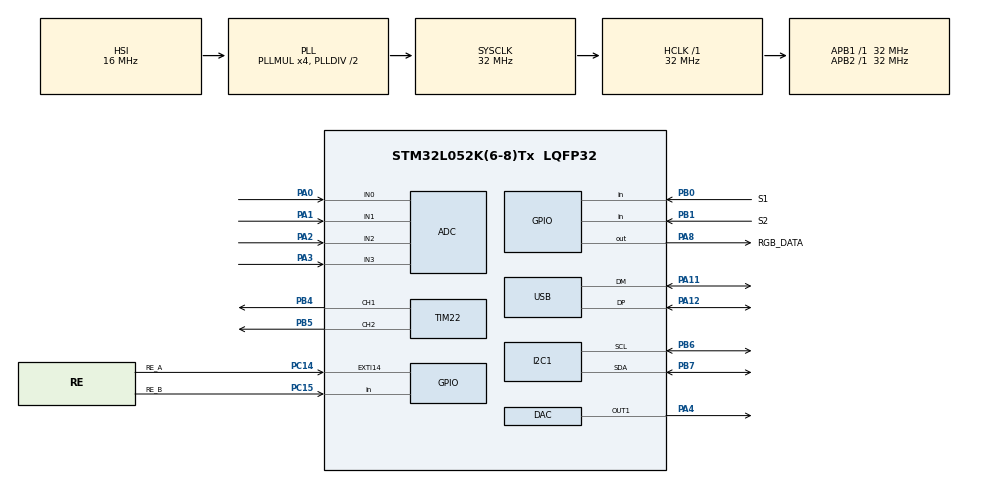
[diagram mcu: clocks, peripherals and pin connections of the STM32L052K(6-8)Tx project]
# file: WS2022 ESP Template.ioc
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ADC.ClockPrescaler=ADC_CLOCK_ASYNC_DIV64
ADC.SamplingTime=ADC_SAMPLETIME_160CYCLES_5
I2C1.Timing=0x00707CBB
Mcu.Family=STM32L0
Mcu.Name=STM32L052K(6-8)Tx
Mcu.Package=LQFP32
NVIC.EXTI4_15_IRQn=true\:0\:0\:false\:false\:true\:true\:true\:true
PA0.Mode=IN0
PA0.Signal=ADC_IN0
PA1.Mode=IN1
PA1.Signal=ADC_IN1
PA10.Signal=USART1_RX
PA11.Mode=Device
PA11.Signal=USB_DM
PA12.Mode=Device
PA12.Signal=USB_DP
PA13.Mode=Serial_Wire
PA13.Signal=SYS_SWDIO
PA14.Mode=Serial_Wire
PA14.Signal=SYS_SWCLK
PA2.Mode=IN2
PA2.Signal=ADC_IN2
PA3.Mode=IN3
PA3.Signal=ADC_IN3
PA4.Signal=COMP_DAC1_group
PA5.Signal=SPI1_SCK
PA6.Signal=SPI1_MISO
PA7.Signal=SPI1_MOSI
PA8.GPIO_Label=RGB_DATA
PA8.GPIO_Speed=GPIO_SPEED_FREQ_VERY_HIGH
PA8.PinState=GPIO_PIN_RESET
PA8.Signal=GPIO_Output
PA9.Signal=USART1_TX
PB0.GPIO_Label=S1
PB0.GPIO_PuPd=GPIO_PULLUP
PB0.Signal=GPIO_Input
PB1.GPIO_Label=S2
PB1.GPIO_PuPd=GPIO_PULLUP
PB1.Signal=GPIO_Input
PB4.Signal=S_TIM22_CH1
PB5.Signal=S_TIM22_CH2
PB6.Mode=I2C
PB6.Signal=I2C1_SCL
PB7.Mode=I2C
PB7.Signal=I2C1_SDA
PC14-OSC32_IN.GPIO_Label=RE_A
PC14-OSC32_IN.GPIO_ModeDefaultEXTI=GPIO_MODE_IT_FALLING
PC14-OSC32_IN.GPIO_PuPd=GPIO_PULLUP
PC14-OSC32_IN.Signal=GPXTI14
PC15-OSC32_OUT.GPIO_Label=RE_B
PC15-OSC32_OUT.GPIO_PuPd=GPIO_PULLUP
PC15-OSC32_OUT.Signal=GPIO_Input
ProjectManager.HeapSize=0x200
ProjectManager.StackSize=0x400
ProjectManager.TargetToolchain=STM32CubeIDE
RCC.AHBFreq_Value=32000000
RCC.APB1Freq_Value=32000000
RCC.APB1TimFreq_Value=32000000
RCC.APB2Freq_Value=32000000
RCC.APB2TimFreq_Value=32000000
RCC.HCLKFreq_Value=32000000
RCC.HSI16_VALUE=16000000
RCC.HSI48MClockSelection=RCC_USBCLKSOURCE_HSI48
RCC.HSI48_VALUE=48000000
RCC.HSI_VALUE=16000000
RCC.LSE_VALUE=32768
RCC.MSI_VALUE=2097000
RCC.PLLMUL=RCC_PLLMUL_4
RCC.SYSCLKFreq_VALUE=32000000
RCC.SYSCLKSource=RCC_SYSCLKSOURCE_PLLCLK
RCC.VCOOutputFreq_Value=64000000
SH.COMP_DAC1_group.0=DAC_OUT1,DAC_OUT1
SH.S_TIM22_CH1.0=TIM22_CH1,Output Compare1 CH1
SH.S_TIM22_CH2.0=TIM22_CH2,PWM Generation2 CH2
TIM22.Channel-Output\ Compare1\ CH1=TIM_CHANNEL_1
TIM22.Channel-PWM\ Generation2\ CH2=TIM_CHANNEL_2
VP_TIM22_VS_ClockSourceINT.Mode=Internal
board=custom

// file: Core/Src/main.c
/* USER CODE BEGIN Header */
/**
  ******************************************************************************
  * @file           : main.c
  * @brief          : Main program body
  ******************************************************************************
  * @attention
  *
  * Copyright (c) 2022 STMicroelectronics.
  * All rights reserved.
  *
  * This software is licensed under terms that can be found in the LICENSE file
  * in the root directory of this software component.
  * If no LICENSE file comes with this software, it is provided AS-IS.
  *
  ******************************************************************************
  */
/* USER CODE END Header */
#include "main.h"

/* USER CODE BEGIN Includes */

#include "lcd.h"
#include "ws2812b.h"
#include "pca9536.h"
#include <stdio.h>

/* USER CODE END Includes */

ADC_HandleTypeDef hadc;

DAC_HandleTypeDef hdac;

I2C_HandleTypeDef hi2c1;

TIM_HandleTypeDef htim22;

PCD_HandleTypeDef hpcd_USB_FS;

/* USER CODE BEGIN PV */

/*
 * Global variables
 */

uint32_t led_colors[12] = {0};      // this is buffer for all 12 rgb leds
                                    // G 8b + R 8b + B 8b = 24b
int8_t rotary = 0;                  // inc or dec when rotary encoder is rotated

/* USER CODE END PV */

void SystemClock_Config(void);
static void MX_GPIO_Init(void);
static void MX_ADC_Init(void);
static void MX_DAC_Init(void);
static void MX_I2C1_Init(void);
static void MX_TIM22_Init(void);
static void MX_USB_PCD_Init(void);

/* USER CODE BEGIN 0 */

//
//******************************************************************************
//  This is EXTI line14 External Interrupt ISR Handler CallBack Function
//  Look: stm32l0xx_it.c and stm32l0xx_hal_gpio.c files
//  This function is called every time when rotary encoder is rotated
//******************************************************************************
//
void HAL_GPIO_EXTI_Callback(uint16_t pin)
{
    if (pin == RE_A_Pin)
    {
        if (HAL_GPIO_ReadPin(RE_B_GPIO_Port, RE_B_Pin) == 1)
            rotary++;
        else
            rotary--;
    }
}

/* USER CODE END 0 */

int main(void)
{
  /* USER CODE BEGIN 1 */

  char buff[17];            // buffer for LCD display

  /* USER CODE END 1 */

  /* MCU Configuration--------------------------------------------------------*/

  /* Reset of all peripherals, Initializes the Flash interface and the Systick. */
  HAL_Init();

  /* Configure the system clock */
  SystemClock_Config();

  /* Initialize all configured peripherals */
  MX_GPIO_Init();
  MX_ADC_Init();
  MX_DAC_Init();
  MX_I2C1_Init();
  MX_TIM22_Init();
  MX_USB_PCD_Init();
  /* USER CODE BEGIN 2 */

  /*
   *    This is an example how to print text to LCD display
   */

  lcd_init(&hi2c1);                                     // initialize LCD display (I2C connected)
  lcd_write_cmd(&hi2c1, LCD_CLEAR_DISPLAY);             // clear display
  lcd_write_cmd(&hi2c1, LCD_CURSOR_OFF);                // hide cursor
  lcd_goto_rc(&hi2c1, 0, 0);                            // cursor to first row first col
  lcd_putstr(&hi2c1, "SWD Test Project");               // print text
  lcd_goto_rc(&hi2c1, 1, 0);                            // cursor to second row first col
  lcd_putstr(&hi2c1, "Template");                       // print starting texts

  /*
   *    This is  an example how set colors for all RGB leds
   */

  led_colors[0] =  COLOR_RED;
  led_colors[1] =  COLOR_GREEN;
  led_colors[2] =  COLOR_BLUE;
  led_colors[3] =  COLOR_PINK;
  led_colors[4] =  COLOR_CYAN;
  led_colors[5] =  COLOR_VIOLET;
  led_colors[6] =  COLOR_ORANGE;
  led_colors[7] =  COLOR_WHITE;
  led_colors[8] =  COLOR_YELLOW;
  led_colors[9] =  0x030F1F;
  led_colors[10] = 0x130F10;
  led_colors[11] = 0x131F07;

  ws2812b_display_all_led_colors(led_colors);

  /*
   *    This is  an example how to use IO expander chip
   */

  pca9536_configure_port(&hi2c1, 0xC0);         // configure port 4 lower bits i i o o
                                                // (i = input, o = output)
                                                // P3 = EXT_IO2, P2 = EXT_IO1, P1 = LCD_BL, P0 = PWM_OE
  pca9536_write_port_outputs(&hi2c1, 0x02);     // set P1 = 1 (LCD backlight ON), P0 = 0 (PWM ON)

  HAL_Delay(1000);                              // short delay

  /* USER CODE END 2 */

  /* Infinite loop */
  while (1)
  {

    /* USER CODE BEGIN 3 */

    lcd_write_cmd(&hi2c1, LCD_CLEAR_DISPLAY);       // clear LCD display
    sprintf(buff, "Rotary = %d", rotary);           // print value of rotary...
    lcd_putstr(&hi2c1, buff);                       // to LCD display
    HAL_Delay(100);

  }
  /* USER CODE END 3 */
}

void SystemClock_Config(void)
{
  RCC_OscInitTypeDef RCC_OscInitStruct = {0};
  RCC_ClkInitTypeDef RCC_ClkInitStruct = {0};
  RCC_PeriphCLKInitTypeDef PeriphClkInit = {0};

  /** Configure the main internal regulator output voltage
  */
  __HAL_PWR_VOLTAGESCALING_CONFIG(PWR_REGULATOR_VOLTAGE_SCALE1);

  /** Initializes the RCC Oscillators according to the specified parameters
  * in the RCC_OscInitTypeDef structure.
  */
  RCC_OscInitStruct.OscillatorType = RCC_OSCILLATORTYPE_HSI|RCC_OSCILLATORTYPE_HSI48;
  RCC_OscInitStruct.HSIState = RCC_HSI_ON;
  RCC_OscInitStruct.HSICalibrationValue = RCC_HSICALIBRATION_DEFAULT;
  RCC_OscInitStruct.HSI48State = RCC_HSI48_ON;
  RCC_OscInitStruct.PLL.PLLState = RCC_PLL_ON;
  RCC_OscInitStruct.PLL.PLLSource = RCC_PLLSOURCE_HSI;
  RCC_OscInitStruct.PLL.PLLMUL = RCC_PLLMUL_4;
  RCC_OscInitStruct.PLL.PLLDIV = RCC_PLLDIV_2;
  if (HAL_RCC_OscConfig(&RCC_OscInitStruct) != HAL_OK)
  {
    Error_Handler();
  }

  /** Initializes the CPU, AHB and APB buses clocks
  */
  RCC_ClkInitStruct.ClockType = RCC_CLOCKTYPE_HCLK|RCC_CLOCKTYPE_SYSCLK
                              |RCC_CLOCKTYPE_PCLK1|RCC_CLOCKTYPE_PCLK2;
  RCC_ClkInitStruct.SYSCLKSource = RCC_SYSCLKSOURCE_PLLCLK;
  RCC_ClkInitStruct.AHBCLKDivider = RCC_SYSCLK_DIV1;
  RCC_ClkInitStruct.APB1CLKDivider = RCC_HCLK_DIV1;
  RCC_ClkInitStruct.APB2CLKDivider = RCC_HCLK_DIV1;

  if (HAL_RCC_ClockConfig(&RCC_ClkInitStruct, FLASH_LATENCY_1) != HAL_OK)
  {
    Error_Handler();
  }
  PeriphClkInit.PeriphClockSelection = RCC_PERIPHCLK_I2C1|RCC_PERIPHCLK_USB;
  PeriphClkInit.I2c1ClockSelection = RCC_I2C1CLKSOURCE_PCLK1;
  PeriphClkInit.UsbClockSelection = RCC_USBCLKSOURCE_HSI48;
  if (HAL_RCCEx_PeriphCLKConfig(&PeriphClkInit) != HAL_OK)
  {
    Error_Handler();
  }
}

static void MX_ADC_Init(void)
{

  ADC_ChannelConfTypeDef sConfig = {0};

  /** Configure the global features of the ADC (Clock, Resolution, Data Alignment and number of conversion)
  */
  hadc.Instance = ADC1;
  hadc.Init.OversamplingMode = DISABLE;
  hadc.Init.ClockPrescaler = ADC_CLOCK_ASYNC_DIV64;
  hadc.Init.Resolution = ADC_RESOLUTION_12B;
  hadc.Init.SamplingTime = ADC_SAMPLETIME_160CYCLES_5;
  hadc.Init.ScanConvMode = ADC_SCAN_DIRECTION_FORWARD;
  hadc.Init.DataAlign = ADC_DATAALIGN_RIGHT;
  hadc.Init.ContinuousConvMode = DISABLE;
  hadc.Init.DiscontinuousConvMode = DISABLE;
  hadc.Init.ExternalTrigConvEdge = ADC_EXTERNALTRIGCONVEDGE_NONE;
  hadc.Init.ExternalTrigConv = ADC_SOFTWARE_START;
  hadc.Init.DMAContinuousRequests = DISABLE;
  hadc.Init.EOCSelection = ADC_EOC_SINGLE_CONV;
  hadc.Init.Overrun = ADC_OVR_DATA_PRESERVED;
  hadc.Init.LowPowerAutoWait = DISABLE;
  hadc.Init.LowPowerFrequencyMode = ENABLE;
  hadc.Init.LowPowerAutoPowerOff = DISABLE;
  if (HAL_ADC_Init(&hadc) != HAL_OK)
  {
    Error_Handler();
  }

  /** Configure for the selected ADC regular channel to be converted.
  */
  sConfig.Channel = ADC_CHANNEL_0;
  sConfig.Rank = ADC_RANK_CHANNEL_NUMBER;
  if (HAL_ADC_ConfigChannel(&hadc, &sConfig) != HAL_OK)
  {
    Error_Handler();
  }

  /** Configure for the selected ADC regular channel to be converted.
  */
  sConfig.Channel = ADC_CHANNEL_1;
  if (HAL_ADC_ConfigChannel(&hadc, &sConfig) != HAL_OK)
  {
    Error_Handler();
  }

  /** Configure for the selected ADC regular channel to be converted.
  */
  sConfig.Channel = ADC_CHANNEL_2;
  if (HAL_ADC_ConfigChannel(&hadc, &sConfig) != HAL_OK)
  {
    Error_Handler();
  }

  /** Configure for the selected ADC regular channel to be converted.
  */
  sConfig.Channel = ADC_CHANNEL_3;
  if (HAL_ADC_ConfigChannel(&hadc, &sConfig) != HAL_OK)
  {
    Error_Handler();
  }

}

static void MX_DAC_Init(void)
{

  DAC_ChannelConfTypeDef sConfig = {0};

  /** DAC Initialization
  */
  hdac.Instance = DAC;
  if (HAL_DAC_Init(&hdac) != HAL_OK)
  {
    Error_Handler();
  }

  /** DAC channel OUT1 config
  */
  sConfig.DAC_Trigger = DAC_TRIGGER_NONE;
  sConfig.DAC_OutputBuffer = DAC_OUTPUTBUFFER_ENABLE;
  if (HAL_DAC_ConfigChannel(&hdac, &sConfig, DAC_CHANNEL_1) != HAL_OK)
  {
    Error_Handler();
  }

}

static void MX_I2C1_Init(void)
{

  hi2c1.Instance = I2C1;
  hi2c1.Init.Timing = 0x00707CBB;
  hi2c1.Init.OwnAddress1 = 0;
  hi2c1.Init.AddressingMode = I2C_ADDRESSINGMODE_7BIT;
  hi2c1.Init.DualAddressMode = I2C_DUALADDRESS_DISABLE;
  hi2c1.Init.OwnAddress2 = 0;
  hi2c1.Init.OwnAddress2Masks = I2C_OA2_NOMASK;
  hi2c1.Init.GeneralCallMode = I2C_GENERALCALL_DISABLE;
  hi2c1.Init.NoStretchMode = I2C_NOSTRETCH_DISABLE;
  if (HAL_I2C_Init(&hi2c1) != HAL_OK)
  {
    Error_Handler();
  }

  /** Configure Analogue filter
  */
  if (HAL_I2CEx_ConfigAnalogFilter(&hi2c1, I2C_ANALOGFILTER_ENABLE) != HAL_OK)
  {
    Error_Handler();
  }

  /** Configure Digital filter
  */
  if (HAL_I2CEx_ConfigDigitalFilter(&hi2c1, 0) != HAL_OK)
  {
    Error_Handler();
  }

}

static void MX_TIM22_Init(void)
{

  TIM_ClockConfigTypeDef sClockSourceConfig = {0};
  TIM_MasterConfigTypeDef sMasterConfig = {0};
  TIM_OC_InitTypeDef sConfigOC = {0};

  htim22.Instance = TIM22;
  htim22.Init.Prescaler = 0;
  htim22.Init.CounterMode = TIM_COUNTERMODE_UP;
  htim22.Init.Period = 65535;
  htim22.Init.ClockDivision = TIM_CLOCKDIVISION_DIV1;
  htim22.Init.AutoReloadPreload = TIM_AUTORELOAD_PRELOAD_DISABLE;
  if (HAL_TIM_Base_Init(&htim22) != HAL_OK)
  {
    Error_Handler();
  }
  sClockSourceConfig.ClockSource = TIM_CLOCKSOURCE_INTERNAL;
  if (HAL_TIM_ConfigClockSource(&htim22, &sClockSourceConfig) != HAL_OK)
  {
    Error_Handler();
  }
  if (HAL_TIM_OC_Init(&htim22) != HAL_OK)
  {
    Error_Handler();
  }
  if (HAL_TIM_PWM_Init(&htim22) != HAL_OK)
  {
    Error_Handler();
  }
  sMasterConfig.MasterOutputTrigger = TIM_TRGO_RESET;
  sMasterConfig.MasterSlaveMode = TIM_MASTERSLAVEMODE_DISABLE;
  if (HAL_TIMEx_MasterConfigSynchronization(&htim22, &sMasterConfig) != HAL_OK)
  {
    Error_Handler();
  }
  sConfigOC.OCMode = TIM_OCMODE_TIMING;
  sConfigOC.Pulse = 0;
  sConfigOC.OCPolarity = TIM_OCPOLARITY_HIGH;
  sConfigOC.OCFastMode = TIM_OCFAST_DISABLE;
  if (HAL_TIM_OC_ConfigChannel(&htim22, &sConfigOC, TIM_CHANNEL_1) != HAL_OK)
  {
    Error_Handler();
  }
  sConfigOC.OCMode = TIM_OCMODE_PWM1;
  if (HAL_TIM_PWM_ConfigChannel(&htim22, &sConfigOC, TIM_CHANNEL_2) != HAL_OK)
  {
    Error_Handler();
  }
  HAL_TIM_MspPostInit(&htim22);

}

static void MX_USB_PCD_Init(void)
{

  hpcd_USB_FS.Instance = USB;
  hpcd_USB_FS.Init.dev_endpoints = 8;
  hpcd_USB_FS.Init.speed = PCD_SPEED_FULL;
  hpcd_USB_FS.Init.phy_itface = PCD_PHY_EMBEDDED;
  hpcd_USB_FS.Init.low_power_enable = DISABLE;
  hpcd_USB_FS.Init.lpm_enable = DISABLE;
  hpcd_USB_FS.Init.battery_charging_enable = DISABLE;
  if (HAL_PCD_Init(&hpcd_USB_FS) != HAL_OK)
  {
    Error_Handler();
  }

}

static void MX_GPIO_Init(void)
{
  GPIO_InitTypeDef GPIO_InitStruct = {0};

  /* GPIO Ports Clock Enable */
  __HAL_RCC_GPIOC_CLK_ENABLE();
  __HAL_RCC_GPIOA_CLK_ENABLE();
  __HAL_RCC_GPIOB_CLK_ENABLE();

  /*Configure GPIO pin Output Level */
  HAL_GPIO_WritePin(RGB_DATA_GPIO_Port, RGB_DATA_Pin, GPIO_PIN_RESET);

  /*Configure GPIO pin : RE_A_Pin */
  GPIO_InitStruct.Pin = RE_A_Pin;
  GPIO_InitStruct.Mode = GPIO_MODE_IT_FALLING;
  GPIO_InitStruct.Pull = GPIO_PULLUP;
  HAL_GPIO_Init(RE_A_GPIO_Port, &GPIO_InitStruct);

  /*Configure GPIO pin : RE_B_Pin */
  GPIO_InitStruct.Pin = RE_B_Pin;
  GPIO_InitStruct.Mode = GPIO_MODE_INPUT;
  GPIO_InitStruct.Pull = GPIO_PULLUP;
  HAL_GPIO_Init(RE_B_GPIO_Port, &GPIO_InitStruct);

  /*Configure GPIO pins : PA5 PA6 PA7 */
  GPIO_InitStruct.Pin = GPIO_PIN_5|GPIO_PIN_6|GPIO_PIN_7;
  GPIO_InitStruct.Mode = GPIO_MODE_AF_PP;
  GPIO_InitStruct.Pull = GPIO_NOPULL;
  GPIO_InitStruct.Speed = GPIO_SPEED_FREQ_VERY_HIGH;
  GPIO_InitStruct.Alternate = GPIO_AF0_SPI1;
  HAL_GPIO_Init(GPIOA, &GPIO_InitStruct);

  /*Configure GPIO pins : S1_Pin S2_Pin */
  GPIO_InitStruct.Pin = S1_Pin|S2_Pin;
  GPIO_InitStruct.Mode = GPIO_MODE_INPUT;
  GPIO_InitStruct.Pull = GPIO_PULLUP;
  HAL_GPIO_Init(GPIOB, &GPIO_InitStruct);

  /*Configure GPIO pin : RGB_DATA_Pin */
  GPIO_InitStruct.Pin = RGB_DATA_Pin;
  GPIO_InitStruct.Mode = GPIO_MODE_OUTPUT_PP;
  GPIO_InitStruct.Pull = GPIO_NOPULL;
  GPIO_InitStruct.Speed = GPIO_SPEED_FREQ_VERY_HIGH;
  HAL_GPIO_Init(RGB_DATA_GPIO_Port, &GPIO_InitStruct);

  /*Configure GPIO pins : PA9 PA10 */
  GPIO_InitStruct.Pin = GPIO_PIN_9|GPIO_PIN_10;
  GPIO_InitStruct.Mode = GPIO_MODE_AF_PP;
  GPIO_InitStruct.Pull = GPIO_NOPULL;
  GPIO_InitStruct.Speed = GPIO_SPEED_FREQ_VERY_HIGH;
  GPIO_InitStruct.Alternate = GPIO_AF4_USART1;
  HAL_GPIO_Init(GPIOA, &GPIO_InitStruct);

  /* EXTI interrupt init*/
  HAL_NVIC_SetPriority(EXTI4_15_IRQn, 0, 0);
  HAL_NVIC_EnableIRQ(EXTI4_15_IRQn);

}

void Error_Handler(void)
{
  __disable_irq();
  while (1)
  {
  }
}
